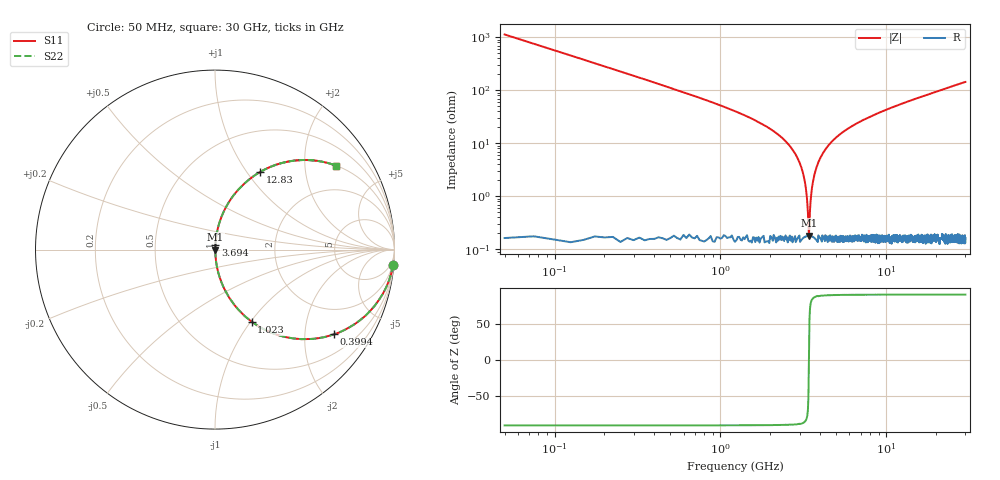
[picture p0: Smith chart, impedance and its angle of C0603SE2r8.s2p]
!	AVX Thin Film Operation 	Date: April 2014
!	Description: Accu-P® Series, Thin Film  SMD RF Capacitor
!	Part Number: 06031J2R8QBSTR
# MHZ S MA R 50
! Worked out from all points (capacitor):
!   1201 points, 50 MHz to 30 GHz, reference 50 ohm
!   read as one part in series: C = 2.8 pF near 199.8 MHz
!   lowest |Z| = 182 mohm at 3.419 GHz (marker M1)
!   series resonance near 3.417 GHz, so ESL is about 780 pH
!   S11 on the Smith chart (normalised r, x): 50 MHz: 1, -23; 399.4 MHz: 1.00, -2.81; 1.023 GHz: 1.00, -1.01; 3.694 GHz: 1.00, +0.05; 12.83 GHz: 1.00, +1.16; 30 GHz: 1.00, +2.88
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50  0.996 -5.0  0.088 85.0  0.088 85.0  0.996 -5.0
249.667  0.915 -23.8  0.404 66.1  0.404 66.1  0.915 -23.8
399.417  0.814 -35.4  0.58 54.5  0.58 54.5  0.814 -35.4
1023.375  0.451 -63.0  0.891 26.8  0.891 26.8  0.451 -63.0
1647.333  0.256 -74.8  0.965 14.8  0.965 14.8  0.256 -74.8
2745.5  0.073 -84.6  0.996 4.2  0.996 4.2  0.073 -84.6
3094.917  0.033 -85.3  0.998 1.9  0.998 1.9  0.033 -85.3
3194.75  0.022 -84.6  0.998 1.3  0.998 1.3  0.022 -84.6
3319.542  0.009704 -80.0  0.998 0.5  0.998 0.5  0.009704 -80.0
3419.375  0.001621 9.7  0.998 -0.0  0.998 -0.0  0.001621 9.7
3519.208  0.009963 80.2  0.998 -0.6  0.998 -0.6  0.009963 80.2
3693.917  0.026 85.0  0.998 -1.5  0.998 -1.5  0.026 85.0
3893.583  0.044 85.4  0.997 -2.5  0.997 -2.5  0.044 85.4
4168.125  0.066 84.8  0.996 -3.8  0.996 -3.8  0.066 84.8
5041.667  0.131 81.8  0.99 -7.5  0.99 -7.5  0.131 81.8
6963.458  0.249 75.2  0.967 -14.4  0.967 -14.4  0.249 75.2
10058.29  0.397 66.4  0.916 -23.4  0.916 -23.4  0.397 66.4
12828.67  0.501 59.8  0.864 -30.1  0.864 -30.1  0.501 59.8
15025  0.569 55.2  0.821 -34.7  0.821 -34.7  0.569 55.2
20016.67  0.687 46.5  0.726 -43.4  0.726 -43.4  0.687 46.5
25033.29  0.767 39.9  0.641 -50.1  0.641 -50.1  0.767 39.9
30000  0.821 34.7  0.57 -55.2  0.57 -55.2  0.821 34.7
